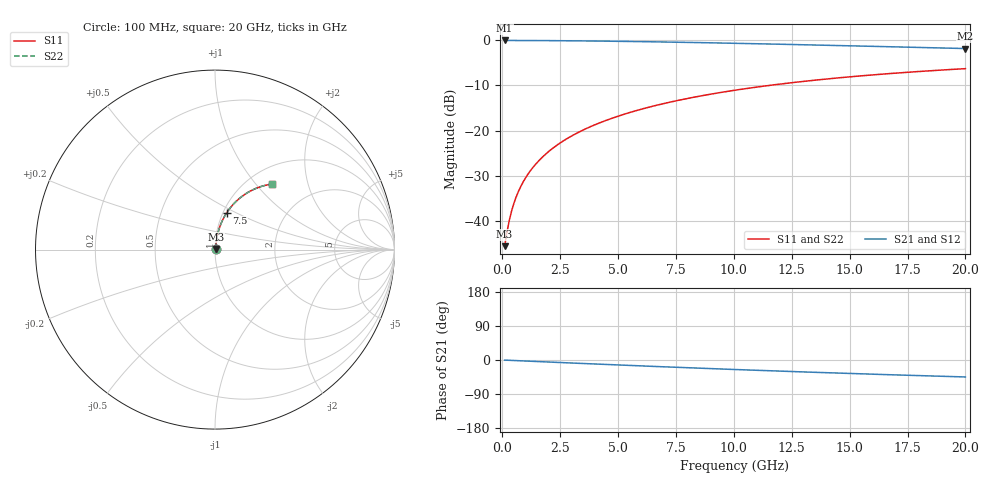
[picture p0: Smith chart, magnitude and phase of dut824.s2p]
! Touchstone file exported from HFSS 2024.1.0
!  File:  C:/UserFiles/LocalFiles/RDL_TSV_Batchsim/temp_RDL_top_824_1779854656.aedt
!  Generated:  12:06:47 PM May 27, 2026
!  Design:  RDL_top
!  Project:  temp_RDL_top_824_1779854656
!  Setup:  Setup1
!  Solution:  Sweep
! Variables:
!  dtsv = 10.80580581um
!  hbump = 3um
!  htsv = 87.84um
!  ldown = 100um
!  lrdl = 579.6um
!  p = 40
!  p1 = 51.66um
!  rhole = 1um
!  t = 450um
!  tdown = 3.915915916um
!  trdl = 3.62um
!  wdown = 15.38538539um
!  wrdl = 13.45um
# GHz S MA R 50.000000
! Terminal data exported
! Port[1] = Box2_T1
! Port[2] = Box2_T2
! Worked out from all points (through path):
!   200 points, 100 MHz to 20 GHz, reference 50 ohm
!   highest |S21| = -0.04 dB at 100 MHz (marker M1); lowest = -1.8 dB at 20 GHz (marker M2)
!   group delay of S21, straight-line fit = 6.22 ps
!   lowest |S11| = -45.6 dB at 100 MHz (marker M3), VSWR 1.01, Z = 50.4 + j0.306 ohm
!   |S11| at or under -10 dB: start of sweep to 11.52 GHz
!   |S22| runs from -45.6 to -6.3 dB; largest |S21 - S12| = 2.6e-15
!   S11 on the Smith chart (normalised r, x): 100 MHz: 1.01, +0.01; 7.5 GHz: 1.04, +0.44; 20 GHz: 1.28, +1.22
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0.1  0.00526 35.2  0.9957 -0.3  0.9957 -0.3  0.00526 35.2
! Gamma 0 0 0 0
! Port Impedance 50 0 50 0
0.2  0.007474 54.0  0.9956 -0.5  0.9956 -0.5  0.007474 54.0
0.3  0.0101 63.3  0.9955 -0.8  0.9955 -0.8  0.0101 63.3
0.4  0.01285 68.5  0.9953 -1.1  0.9953 -1.1  0.01285 68.5
0.5  0.01565 71.8  0.9952 -1.4  0.9952 -1.4  0.01565 71.8
0.6  0.01847 74.0  0.995 -1.6  0.995 -1.6  0.01847 74.0
0.8  0.02415 76.9  0.9946 -2.2  0.9946 -2.2  0.02415 76.9
1.1  0.03272 79.1  0.994 -3.0  0.994 -3.0  0.03272 79.1
1.5  0.04422 80.4  0.9931 -4.0  0.9931 -4.0  0.04422 80.4
1.8  0.05286 80.8  0.9922 -4.8  0.9922 -4.8  0.05286 80.8
2.1  0.06151 80.9  0.9912 -5.6  0.9912 -5.6  0.06151 80.9
2.7  0.07881 80.6  0.9887 -7.2  0.9887 -7.2  0.07881 80.6
3.5  0.1018 79.7  0.9846 -9.3  0.9846 -9.3  0.1018 79.7
4.2  0.1218 78.6  0.9803 -11.1  0.9803 -11.1  0.1218 78.6
5  0.1445 77.2  0.9746 -13.1  0.9746 -13.1  0.1445 77.3
5.9  0.1697 75.6  0.9674 -15.3  0.9674 -15.3  0.1698 75.6
6.8  0.1946 73.9  0.9595 -17.5  0.9595 -17.5  0.1946 73.9
7.5  0.2136 72.5  0.9529 -19.2  0.9529 -19.2  0.2137 72.5
10.1  0.2815 67.3  0.9258 -25.2  0.9258 -25.2  0.2815 67.3
13.4  0.3596 60.8  0.888 -32.3  0.888 -32.3  0.3597 60.8
16.7  0.4276 54.6  0.8488 -38.8  0.8488 -38.8  0.4277 54.6
20  0.4854 48.8  0.8102 -44.8  0.8102 -44.8  0.4855 48.8
